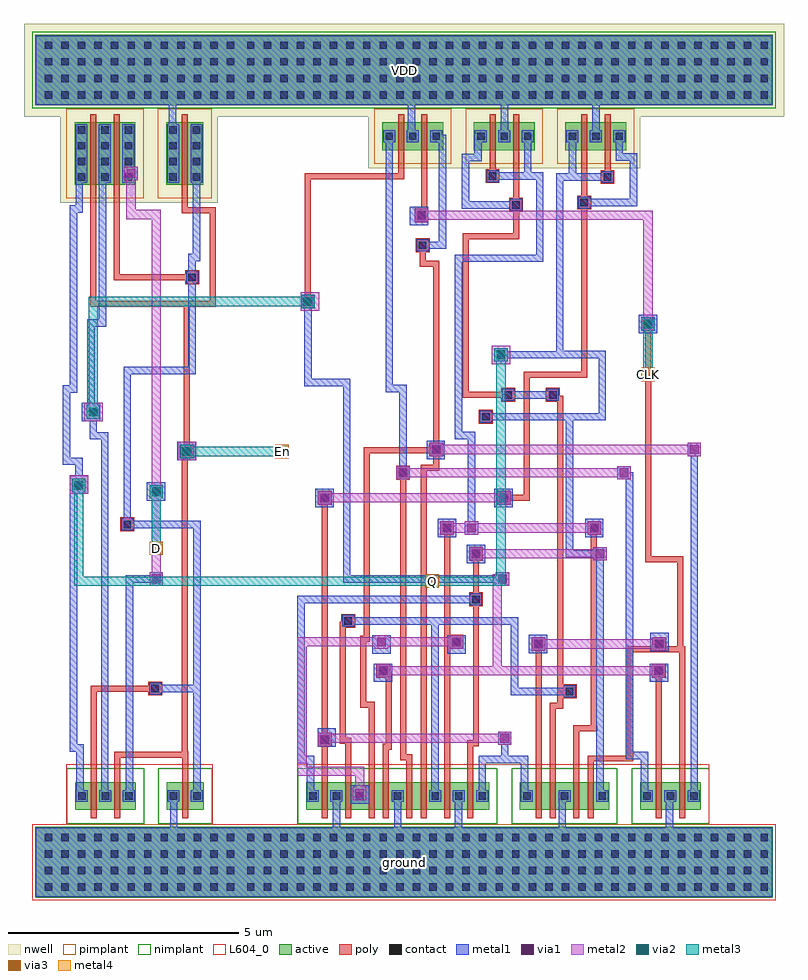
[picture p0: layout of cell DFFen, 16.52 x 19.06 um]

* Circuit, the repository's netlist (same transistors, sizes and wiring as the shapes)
* LVS netlist generated with ICnet by 'egrvlsi07' on Thu Mar 28 2019 at 16:39:21

*
* Globals.
*
.global VDD ground

*
* Component pathname : $VLSI/Project/Mux21
*
.subckt Mux21  Y A B S

        M6 Y N$46 A ground nmos l=0.13u w=0.6u m=1
        M3 Y S A VDD pmos l=0.13u w=1.35u m=1
        M5 Y S B ground nmos l=0.13u w=0.6u m=1
        M4 Y N$46 B VDD pmos l=0.13u w=1.35u m=1
        M2 N$46 S VDD VDD pmos l=0.13u w=1.35u m=1
        M1 N$46 S ground ground nmos l=0.13u w=0.6u m=1
.ends Mux21

*
* Component pathname : $VLSI/Project/DFF
*
.subckt DFF  Q CLK D

        M20 N$101 Q VDD VDD pmos l=0.13u w=0.6u m=1
        M19 Q N$101 VDD VDD pmos l=0.13u w=0.6u m=1
        M18 N$84 N$82 VDD VDD pmos l=0.13u w=0.6u m=1
        M17 N$82 N$84 VDD VDD pmos l=0.13u w=0.6u m=1
        M16 N$70 D VDD VDD pmos l=0.13u w=0.6u m=1
        M15 N$65 CLK VDD VDD pmos l=0.13u w=0.6u m=1
        M14 Q CLK N$93 ground nmos l=0.13u w=0.6u m=1
        M13 N$101 CLK N$40 ground nmos l=0.13u w=0.6u m=1
        M12 N$82 N$65 N$88 ground nmos l=0.13u w=0.6u m=1
        M11 N$84 N$65 N$67 ground nmos l=0.13u w=0.6u m=1
        M10 N$40 N$84 ground ground nmos l=0.13u w=0.6u m=1
        M9 Q N$101 ground ground nmos l=0.13u w=0.6u m=1
        M8 N$101 Q ground ground nmos l=0.13u w=0.6u m=1
        M7 N$93 N$82 ground ground nmos l=0.13u w=0.6u m=1
        M6 N$88 D ground ground nmos l=0.13u w=0.6u m=1
        M5 N$84 N$82 ground ground nmos l=0.13u w=0.6u m=1
        M4 N$82 N$84 ground ground nmos l=0.13u w=0.6u m=1
        M3 N$67 N$70 ground ground nmos l=0.13u w=0.6u m=1
        M2 N$70 D ground ground nmos l=0.13u w=0.6u m=1
        M1 N$65 CLK ground ground nmos l=0.13u w=0.6u m=1
.ends DFF

*
* Component pathname : $VLSI/Project/DFFen
*
.subckt DFFen  Q CLK D En

        X_Enable_Mux N$5 Q D En Mux21
        X_DFF Q CLK N$5 DFF
.ends DFFen

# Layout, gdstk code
import gdstk
lib = gdstk.Library(unit=1e-6, precision=1e-09)
def R(c, l, rs):  # rectangles x0, y0, x1, y1
    for r in rs: c.add(gdstk.rectangle(r[:2], r[2:], *l))
def A(c, l, x, y, w, h, nx, ny, dx, dy):  # array of equal rectangles
    R(c, l, [(x+i*dx, y+j*dy, x+i*dx+w, y+j*dy+h) for i in range(nx) for j in range(ny)])
def P(c, l, *ps):  # polygons
    for p in ps: c.add(gdstk.Polygon(p, *l))
nwell = (3, 0)
active = (6, 0)
poly = (17, 0)
pimplant = (25, 0)
nimplant = (26, 0)
contact = (30, 0)
metal1 = (31, 0)
metal2 = (32, 0)
metal3 = (33, 0)
metal4 = (34, 0)
via1 = (51, 0)
via2 = (52, 0)
via3 = (53, 0)
L604_0 = (604, 0)

m2m3 = lib.new_cell('M2M3')
R(m2m3, metal2, [(-0.145,-0.145,0.145,0.145)])
R(m2m3, metal3, [(-0.145,-0.145,0.145,0.145)])
R(m2m3, via2, [(-0.095,-0.095,0.095,0.095)])

poly_m1 = lib.new_cell('POLY_M1')
R(poly_m1, poly, [(-0.15,-0.15,0.15,0.15)])
R(poly_m1, contact, [(-0.08,-0.08,0.08,0.08)])
R(poly_m1, metal1, [(-0.13,-0.13,0.13,0.13)])

m1m2 = lib.new_cell('M1M2')
R(m1m2, metal1, [(-0.145,-0.145,0.145,0.145)])
R(m1m2, metal2, [(-0.145,-0.145,0.145,0.145)])
R(m1m2, via1, [(-0.095,-0.095,0.095,0.095)])

dff = lib.new_cell('DFF')
R(dff, nwell, [(-1.725,103.125,4.195,104.505), (-4.705,104.245,7.315,106.265)])
A(dff, active, -1.415, 103.515, 1.32, 0.6, 3, 1, 1.99, 0)
R(dff, active, [(-4.465,87.265,7.075,88.805), (-3.075,89.175,0.905,89.775), (1.575,89.175,3.515,89.775), (4.185,89.175,5.505,89.775), (-4.465,104.485,7.075,106.025)])
A(dff, poly, -2.735, 88.995, 0.13, 0.18, 3, 2, 0.51, 0.78)
A(dff, poly, -0.585, 88.995, 0.13, 0.18, 3, 2, 0.51, 0.78)
A(dff, poly, -2.735, 89.175, 0.13, 0.6, 3, 1, 0.51, 0)
A(dff, poly, -0.585, 89.175, 0.13, 0.6, 3, 1, 0.51, 0)
R(dff, poly, [(-1.405,88.995,-1.275,89.175), (-0.895,88.995,-0.765,89.175), (1.915,88.995,2.045,89.175), (2.225,88.995,2.355,89.175), (2.735,88.995,2.865,89.175), (3.045,88.995,3.175,89.175), (4.525,88.995,4.655,89.175), (5.035,88.995,5.165,89.175), (-1.405,89.175,-1.275,89.775), (-0.895,89.175,-0.765,89.775), (1.915,89.175,2.045,89.775), (2.225,89.175,2.355,89.775), (2.735,89.175,2.865,89.775), (3.045,89.175,3.175,89.775), (4.525,89.175,4.655,89.775), (5.035,89.175,5.165,89.775), (-1.405,89.775,-1.275,89.955), (-0.895,89.775,-0.765,89.955), (1.915,89.775,2.045,89.955), (2.225,89.775,2.355,89.955), (2.735,89.775,2.865,89.955), (3.045,89.775,3.175,89.955), (4.525,89.775,4.655,89.955), (5.035,89.775,5.165,89.955), (-2.735,89.825,-2.605,90.765), (-0.075,89.825,0.055,90.335), (1.915,89.825,2.045,92.845), (4.525,89.825,4.655,92.265), (-0.075,90.205,0.055,95.365), (-2.735,90.635,-2.605,96.02), (3.115,90.885,3.26,91.015), (0.555,93.685,0.685,94.805), (3.13,95.235,3.29,95.365), (1.16,95.89,1.785,96.02), (1.425,102.26,1.555,103.465), (2.905,102.31,3.035,103.465), (3.415,102.865,3.545,103.465), (0.915,102.885,1.045,103.465), (-1.075,103.335,-0.945,103.515), (-0.565,103.335,-0.435,103.515), (0.915,103.335,1.045,103.515), (1.425,103.335,1.555,103.515), (2.905,103.335,3.035,103.515), (3.415,103.335,3.545,103.515), (-1.075,103.515,-0.945,104.115), (-0.565,103.515,-0.435,104.115), (0.915,103.515,1.045,104.115), (1.425,103.515,1.555,104.115), (2.905,103.515,3.035,104.115), (3.415,103.515,3.545,104.115), (-1.075,104.115,-0.945,104.295), (-0.565,104.115,-0.435,104.295), (0.915,104.115,1.045,104.295), (1.425,104.115,1.555,104.295), (2.905,104.115,3.035,104.295), (3.415,104.115,3.545,104.295)])
P(dff, poly, [(1.655,95.89),(1.785,95.89),(1.785,98.57),(3.035,98.57),(3.035,102.44),(2.905,102.44),(2.905,98.7),(1.655,98.7)],
  [(0.33,98.13),(1.385,98.13),(1.385,98.26),(0.46,98.26),(0.46,101.575),(1.555,101.575),(1.555,102.39),(1.425,102.39),(1.425,101.705),(0.33,101.705)],
  [(4.295,94.56),(5,94.56),(5,92.6),(5.13,92.6),(5.13,94.69),(4.425,94.69),(4.425,99.8),(4.295,99.8)],
  [(3.115,90.885),(3.245,90.885),(3.245,95.235),(3.26,95.235),(3.26,95.365),(3.115,95.365)],
  [(-3.1,100.16),(-2.97,100.16),(-2.97,102.88),(-0.945,102.88),(-0.945,103.465),(-1.075,103.465),(-1.075,103.01),(-3.1,103.01)],
  [(-0.63,102.035),(-0.435,102.035),(-0.435,103.465),(-0.565,103.465),(-0.565,102.165),(-0.63,102.165)],
  [(-0.585,89.825),(-0.455,89.825),(-0.455,96.545),(-0.18,96.545),(-0.18,96.675),(-0.585,96.675)],
  [(-1.46,92.05),(-1.34,92.05),(-1.34,90.61),(-1.405,90.61),(-1.405,89.825),(-1.275,89.825),(-1.275,90.48),(-1.21,90.48),(-1.21,92.18),(-1.46,92.18)],
  [(-1.03,90.255),(-0.895,90.255),(-0.895,89.825),(-0.765,89.825),(-0.765,90.385),(-0.9,90.385),(-0.9,96.565),(-1.03,96.565)],
  [(2.735,89.825),(2.865,89.825),(2.865,90.885),(3.245,90.885),(3.245,91.015),(2.735,91.015)],
  [(-2.34,90.61),(-2.225,90.61),(-2.225,89.825),(-2.095,89.825),(-2.095,90.74),(-2.21,90.74),(-2.21,93.13),(-2.095,93.13),(-2.095,93.26),(-2.34,93.26)],
  [(0.435,89.825),(0.565,89.825),(0.565,90.56),(0.685,90.56),(0.685,93.815),(0.555,93.815),(0.555,90.69),(0.435,90.69)],
  [(3.045,89.825),(3.175,89.825),(3.175,90.225),(4.035,90.225),(4.035,92.6),(5.035,92.6),(5.035,89.825),(5.165,89.825),(5.165,92.73),(3.905,92.73),(3.905,90.355),(3.045,90.355)],
  [(2.225,89.825),(2.355,89.825),(2.355,91.37),(2.52,91.37),(2.52,98.175),(2.225,98.175),(2.225,98.045),(2.39,98.045),(2.39,91.5),(2.225,91.5)],
  [(-0.605,100.975),(-0.31,100.975),(-0.31,96.545),(-0.18,96.545),(-0.18,101.105),(-0.475,101.105),(-0.475,101.51),(-0.605,101.51)],
  [(-1.9,91.395),(-1.715,91.395),(-1.715,89.825),(-1.585,89.825),(-1.585,91.525),(-1.77,91.525),(-1.77,92.825),(-1.685,92.825),(-1.685,96.925),(-0.18,96.925),(-0.18,97.055),(-1.815,97.055),(-1.815,92.955),(-1.9,92.955)])
A(dff, pimplant, -1.595, 103.215, 1.68, 1.2, 3, 1, 1.99, 0)
R(dff, pimplant, [(-4.525,87.205,7.135,88.865)])
R(dff, nimplant, [(-3.255,88.875,1.085,90.075), (1.395,88.875,3.695,90.075), (4.005,88.875,5.685,90.075), (-4.525,104.425,7.135,106.085)])
A(dff, contact, -4.355, 87.415, 0.16, 0.16, 32, 4, 0.36, 0.36)
A(dff, contact, -3.005, 89.395, 0.16, 0.16, 3, 1, 0.51, 0)
A(dff, contact, -0.345, 89.395, 0.16, 0.16, 3, 1, 0.51, 0)
A(dff, contact, 1.645, 89.395, 0.16, 0.16, 3, 1, 0.82, 0)
A(dff, contact, 4.255, 89.395, 0.16, 0.16, 3, 1, 0.51, 0)
A(dff, contact, -1.345, 103.735, 0.16, 0.16, 3, 1, 0.51, 0)
A(dff, contact, 0.645, 103.735, 0.16, 0.16, 3, 1, 0.51, 0)
A(dff, contact, 2.635, 103.735, 0.16, 0.16, 3, 1, 0.51, 0)
A(dff, contact, -4.355, 104.635, 0.16, 0.16, 32, 4, 0.36, 0.36)
R(dff, contact, [(-1.165,89.395,-1.005,89.555)])
A(dff, metal1, -3.055, 89.345, 0.26, 0.26, 3, 1, 0.51, 0)
A(dff, metal1, -0.395, 89.345, 0.26, 0.26, 3, 1, 0.51, 0)
A(dff, metal1, 1.595, 89.345, 0.26, 0.26, 3, 1, 0.82, 0)
A(dff, metal1, 4.205, 89.345, 0.26, 0.26, 3, 1, 0.51, 0)
A(dff, metal1, -1.395, 103.685, 0.26, 0.26, 3, 1, 0.51, 0)
A(dff, metal1, 0.595, 103.685, 0.26, 0.26, 3, 1, 0.51, 0)
A(dff, metal1, 2.585, 103.685, 0.26, 0.26, 3, 1, 0.51, 0)
R(dff, metal1, [(-4.445,87.285,7.055,88.785), (-4.445,87.285,7.055,88.785), (-2.495,88.625,-2.335,89.505), (-1.16,88.625,-1,89.505), (0.16,88.625,0.32,89.505), (2.415,88.625,2.575,89.505), (4.75,88.625,4.91,89.505), (-2.105,89.305,-1.705,89.705), (-1.215,89.345,-0.955,89.605), (-1.99,89.445,-1.83,89.61), (-0.35,89.445,-0.19,93.36), (5.285,89.445,5.445,97.085), (1.165,90.185,1.325,90.81), (-2.825,90.545,-2.425,90.945), (-1.605,91.955,-1.205,92.355), (4.395,91.955,4.795,92.355), (-1.635,92.57,-1.235,92.97), (-0.005,92.57,0.395,92.97), (1.77,92.58,2.17,92.98), (4.405,92.62,4.805,93.02), (-2.24,93.2,-0.19,93.36), (0.42,94.535,0.82,94.935), (-0.21,95.1,0.19,95.5), (2.99,95.1,3.39,95.5), (-2.875,95.75,-2.475,96.15), (1.02,95.75,1.42,96.15), (-0.455,96.8,-0.055,97.2), (0.755,97.64,2.73,97.8), (1.24,98.115,2.37,98.275), (4.155,99.535,4.555,99.935), (-0.815,101.885,-0.415,102.285), (0.315,102.245,1.57,102.405), (2.635,102.85,3.56,103.01), (2.635,102.85,2.795,103.02), (2.635,102.86,2.795,103.845), (0.9,102.87,1.825,103.03), (1.665,102.87,1.825,103.845), (-0.86,103.785,-0.7,104.665), (1.16,103.785,1.32,104.665), (3.15,103.785,3.31,104.665), (-4.445,104.505,7.055,106.005), (-4.445,104.505,7.055,106.005)])
P(dff, metal1, [(1.085,98.985),(2.52,98.985),(2.52,99.155),(2.36,99.155),(2.36,99.145),(1.085,99.145)],
  [(2.36,98.995),(2.52,98.995),(2.52,102.85),(2.795,102.85),(2.795,103.01),(2.36,103.01)],
  [(2.57,94.66),(3.235,94.66),(3.235,89.445),(3.395,89.445),(3.395,94.82),(2.73,94.82),(2.73,97.8),(2.57,97.8)],
  [(3.755,96.355),(3.88,96.355),(3.88,90.275),(4.205,90.275),(4.205,89.445),(4.365,89.445),(4.365,90.435),(4.04,90.435),(4.04,96.515),(3.755,96.515)],
  [(0.315,102.245),(0.475,102.245),(0.475,103.275),(0.745,103.275),(0.745,103.685),(0.755,103.685),(0.755,103.845),(0.585,103.845),(0.585,103.435),(0.315,103.435)],
  [(-3.265,90.19),(-3.055,90.19),(-3.055,89.445),(-2.895,89.445),(-2.895,90.35),(-3.105,90.35),(-3.105,93.67),(0.7,93.67),(0.7,93.83),(-3.265,93.83)],
  [(-0.35,93.2),(1.375,93.2),(1.375,91.67),(2.735,91.67),(2.735,91.83),(1.535,91.83),(1.535,93.36),(-0.35,93.36)],
  [(0.16,97.23),(0.445,97.23),(0.445,95.22),(0.605,95.22),(0.605,97.39),(0.32,97.39),(0.32,101.085),(2.085,101.085),(2.085,103.03),(1.665,103.03),(1.665,102.87),(1.925,102.87),(1.925,101.245),(0.16,101.245)],
  [(-1.345,98.25),(-1.045,98.25),(-1.045,96.42),(-0.885,96.42),(-0.885,98.41),(-1.185,98.41),(-1.185,103.845),(-1.345,103.845)],
  [(-3.115,98.38),(-2.27,98.38),(-2.27,94.11),(1.275,94.11),(1.275,94.27),(-2.11,94.27),(-2.11,98.54),(-2.955,98.54),(-2.955,100.305),(-3.115,100.305)],
  [(2.89,102.295),(4.125,102.295),(4.125,103.445),(3.815,103.445),(3.815,103.845),(3.655,103.845),(3.655,103.285),(3.965,103.285),(3.965,102.455),(2.89,102.455)],
  [(0.675,89.445),(0.835,89.445),(0.835,90.185),(1.325,90.185),(1.325,90.345),(0.675,90.345)],
  [(-0.62,101.365),(-0.03,101.365),(-0.03,103.845),(-0.275,103.845),(-0.275,103.685),(-0.19,103.685),(-0.19,101.525),(-0.62,101.525)],
  [(1.165,90.185),(1.595,90.185),(1.595,89.445),(1.755,89.445),(1.755,90.345),(1.165,90.345)],
  [(2.36,98.995),(3.285,98.995),(3.285,97.8),(2.57,97.8),(2.57,97.64),(3.445,97.64),(3.445,99.155),(2.36,99.155)])
R(dff, metal2, [(-1.495,92.1,1.185,92.3), (0.985,92.1,4.69,92.3), (1.88,92.68,4.705,92.88), (0.52,94.64,3.415,94.84), (-0.11,95.2,0.625,95.4), (0.425,95.2,3.295,95.4), (-2.77,95.855,1.325,96.055), (-1.065,96.4,3.935,96.6), (-0.345,96.905,5.465,97.105), (0.965,98.86,1.365,99.26), (-3.19,100.02,-2.79,100.42)])
P(dff, metal2, [(-0.665,102),(4.26,102),(4.26,99.635),(4.46,99.635),(4.46,102.2),(-0.665,102.2)],
  [(-3.26,89.915),(-2.01,89.915),(-2.01,89.43),(-1.81,89.43),(-1.81,90.115),(-3.06,90.115),(-3.06,92.725),(0.295,92.725),(0.295,92.925),(-3.26,92.925)],
  [(0.985,92.1),(1.185,92.1),(1.185,94.09),(1.295,94.09),(1.295,94.29),(0.985,94.29)],
  [(-2.77,90.6),(-2.57,90.6),(-2.57,90.63),(1.345,90.63),(1.345,90.83),(-2.77,90.83)])
R(dff, metal3, [(1.065,98.965,1.265,99.165), (4.26,99.635,4.46,99.835), (-3.135,100.125,-2.935,100.325)])
R(dff, L604_0, [(-4.525,87.205,7.135,88.865), (-3.265,88.785,5.695,90.165)])
dff.add(gdstk.Reference(m2m3, (-3.035,100.225)))
dff.add(gdstk.Reference(poly_m1, (-0.54,101.445)))
dff.add(gdstk.Reference(poly_m1, (-0.965,96.5)))
dff.add(gdstk.Reference(m1m2, (-0.965,96.5)))
dff.add(gdstk.Reference(m1m2, (3.835,96.5)))
dff.add(gdstk.Reference(poly_m1, (0.98,102.95)))
dff.add(gdstk.Reference(poly_m1, (3.48,102.93)))
dff.add(gdstk.Reference(poly_m1, (2.97,102.375)))
dff.add(gdstk.Reference(poly_m1, (1.49,102.325)))
dff.add(gdstk.Reference(m1m2, (1.165,99.065)))
dff.add(gdstk.Reference(m2m3, (1.165,99.065)))
dff.add(gdstk.Reference(poly_m1, (-0.245,97.005)))
dff.add(gdstk.Reference(m1m2, (5.365,97.005)))
dff.add(gdstk.Reference(m1m2, (-0.245,97.005)))
dff.add(gdstk.Reference(poly_m1, (4.36,99.735)))
dff.add(gdstk.Reference(poly_m1, (3.195,95.3)))
dff.add(gdstk.Reference(m1m2, (3.195,95.3)))
dff.add(gdstk.Reference(m1m2, (3.315,94.74)))
dff.add(gdstk.Reference(poly_m1, (0.62,94.74)))
dff.add(gdstk.Reference(m1m2, (1.245,90.73)))
dff.add(gdstk.Reference(m1m2, (4.36,99.735)))
dff.add(gdstk.Reference(m2m3, (4.36,99.735)))
dff.add(gdstk.Reference(poly_m1, (0.835,97.72)))
dff.add(gdstk.Reference(poly_m1, (2.29,98.195)))
dff.add(gdstk.Reference(poly_m1, (1.32,98.195)))
dff.add(gdstk.Reference(m1m2, (-0.565,102.1)))
dff.add(gdstk.Reference(m1m2, (0.62,94.74)))
dff.add(gdstk.Reference(poly_m1, (-0.565,102.1)))
dff.add(gdstk.Reference(poly_m1, (-3.035,100.225)))
dff.add(gdstk.Reference(m1m2, (-3.035,100.225)))
dff.add(gdstk.Reference(poly_m1, (0.195,92.825)))
dff.add(gdstk.Reference(m1m2, (0.195,92.825)))
dff.add(gdstk.Reference(m1m2, (-1.91,89.53)))
dff.add(gdstk.Reference(m1m2, (1.195,94.19)))
dff.add(gdstk.Reference(m1m2, (0.525,95.3)))
dff.add(gdstk.Reference(poly_m1, (1.225,95.955)))
dff.add(gdstk.Reference(m1m2, (1.225,95.955)))
dff.add(gdstk.Reference(poly_m1, (-2.67,95.955)))
dff.add(gdstk.Reference(m1m2, (-2.67,95.955)))
dff.add(gdstk.Reference(poly_m1, (4.59,92.2)))
dff.add(gdstk.Reference(m1m2, (4.59,92.2)))
dff.add(gdstk.Reference(poly_m1, (-1.395,92.2)))
dff.add(gdstk.Reference(m1m2, (-1.395,92.2)))
dff.add(gdstk.Reference(m1m2, (-0.01,95.3)))
dff.add(gdstk.Reference(poly_m1, (-0.01,95.3)))
dff.add(gdstk.Reference(poly_m1, (-2.67,90.7)))
dff.add(gdstk.Reference(m1m2, (-2.67,90.7)))
dff.add(gdstk.Reference(poly_m1, (1.98,92.78)))
dff.add(gdstk.Reference(m1m2, (1.98,92.78)))
dff.add(gdstk.Reference(poly_m1, (4.605,92.78)))
dff.add(gdstk.Reference(m1m2, (4.605,92.78)))
dff.add(gdstk.Reference(poly_m1, (2.655,91.75)))
dff.add(gdstk.Reference(poly_m1, (0.62,93.75)))
dff.add(gdstk.Reference(poly_m1, (-2.16,93.28)))
dff.add(gdstk.Reference(m1m2, (-1.435,92.825)))
dff.add(gdstk.Label('/M16', (-1.01,103.815), layer=17, texttype=0))
dff.add(gdstk.Label('/M15', (-0.5,103.815), layer=17, texttype=0))
dff.add(gdstk.Label('/M18', (0.98,103.815), layer=17, texttype=0))
dff.add(gdstk.Label('/M17', (1.49,103.815), layer=17, texttype=0))
dff.add(gdstk.Label('/M19', (2.97,103.815), layer=17, texttype=0))
dff.add(gdstk.Label('/M20', (3.48,103.815), layer=17, texttype=0))
dff.add(gdstk.Label('/M9', (-2.67,89.475), layer=17, texttype=0))
dff.add(gdstk.Label('/M4', (-2.16,89.475), layer=17, texttype=0))
dff.add(gdstk.Label('/M12', (-1.65,89.475), layer=17, texttype=0))
dff.add(gdstk.Label('/M6', (-1.34,89.475), layer=17, texttype=0))
dff.add(gdstk.Label('/M3', (-0.83,89.475), layer=17, texttype=0))
dff.add(gdstk.Label('/M11', (-0.52,89.475), layer=17, texttype=0))
dff.add(gdstk.Label('/M5', (-0.01,89.475), layer=17, texttype=0))
dff.add(gdstk.Label('/M8', (0.5,89.475), layer=17, texttype=0))
dff.add(gdstk.Label('/M13', (1.98,89.475), layer=17, texttype=0))
dff.add(gdstk.Label('/M10', (2.29,89.475), layer=17, texttype=0))
dff.add(gdstk.Label('/M7', (2.8,89.475), layer=17, texttype=0))
dff.add(gdstk.Label('/M14', (3.11,89.475), layer=17, texttype=0))
dff.add(gdstk.Label('/M2', (4.59,89.475), layer=17, texttype=0))
dff.add(gdstk.Label('/M1', (5.1,89.475), layer=17, texttype=0))
dff.add(gdstk.Label('CLK', (4.36,99.735), layer=133, texttype=0))
dff.add(gdstk.Label('Q', (1.165,99.065), layer=133, texttype=0))
dff.add(gdstk.Label('D', (-3.035,100.225), layer=133, texttype=0))
dff.add(gdstk.Label('VDD', (1.305,105.255), layer=131, texttype=0))
dff.add(gdstk.Label('ground', (1.305,88.035), layer=131, texttype=0))

mux21 = lib.new_cell('Mux21')
R(mux21, nwell, [(-1.815,108.335,1.605,110.465), (-2.605,110.205,2.415,112.225)])
R(mux21, active, [(-2.365,93.225,2.175,94.765), (-1.495,95.135,-0.175,95.735), (0.495,95.135,1.305,95.735), (-1.505,108.725,-0.185,110.075), (0.485,108.725,1.295,110.075), (-2.365,110.445,2.175,111.985)])
R(mux21, poly, [(-1.155,94.955,-1.025,95.135), (-0.645,94.955,-0.515,95.135), (0.835,94.955,0.965,95.135), (-1.155,95.135,-1.025,95.735), (-0.645,95.135,-0.515,95.735), (0.835,95.135,0.965,95.735), (-1.155,95.735,-1.025,95.915), (-0.645,95.735,-0.515,95.915), (0.835,95.735,0.965,95.915), (0.835,95.785,0.965,96.4), (0.825,96.27,0.965,96.4), (0.825,96.27,0.955,102.99), (0.87,102.86,1,106.2), (0.87,106.07,1.56,106.2), (-1.165,108.545,-1.035,108.725), (-0.655,108.545,-0.525,108.725), (0.825,108.545,0.955,108.725), (-1.165,108.725,-1.035,110.075), (-0.655,108.725,-0.525,110.075), (0.825,108.725,0.955,110.075), (-1.165,110.075,-1.035,110.255), (-0.655,110.075,-0.525,110.255), (0.825,110.075,0.955,110.255)])
P(mux21, poly, [(-1.155,95.785),(-1.025,95.785),(-1.025,97.705),(0.31,97.705),(0.31,97.835),(-1.155,97.835)],
  [(-0.655,106.645),(1.115,106.645),(1.115,106.775),(-0.525,106.775),(-0.525,108.675),(-0.655,108.675)],
  [(0.825,108.1),(1.43,108.1),(1.43,106.07),(1.56,106.07),(1.56,108.23),(0.955,108.23),(0.955,108.675),(0.825,108.675)],
  [(-0.645,95.785),(-0.515,95.785),(-0.515,96.27),(0.955,96.27),(0.955,96.4),(-0.645,96.4)],
  [(-1.165,106.07),(1,106.07),(1,106.2),(-1.035,106.2),(-1.035,108.675),(-1.165,108.675)])
R(mux21, pimplant, [(-2.425,93.165,2.235,94.825), (-1.685,108.425,-0.005,110.375), (0.305,108.425,1.475,110.375)])
R(mux21, nimplant, [(-1.675,94.835,0.005,96.035), (0.315,94.835,1.485,96.035), (-2.425,110.385,2.235,112.045)])
A(mux21, contact, -2.155, 93.375, 0.16, 0.16, 12, 4, 0.36, 0.36)
A(mux21, contact, -1.425, 95.355, 0.16, 0.16, 3, 1, 0.51, 0)
A(mux21, contact, -1.435, 108.81, 0.16, 0.16, 3, 4, 0.51, 0.34)
A(mux21, contact, 0.555, 108.81, 0.16, 0.16, 1, 4, 0, 0.34)
A(mux21, contact, 1.065, 108.81, 0.16, 0.16, 1, 4, 0, 0.34)
A(mux21, contact, -2.155, 110.595, 0.16, 0.16, 12, 4, 0.36, 0.36)
R(mux21, contact, [(0.565,95.355,0.725,95.515), (1.075,95.355,1.235,95.515)])
A(mux21, metal1, -1.475, 95.305, 0.26, 0.26, 3, 1, 0.51, 0)
A(mux21, metal1, -1.485, 108.76, 0.26, 1.28, 3, 1, 0.51, 0)
R(mux21, metal1, [(-2.345,93.245,2.155,94.745), (-2.345,93.245,2.155,94.745), (0.57,94.585,0.73,95.465), (0.515,95.305,0.775,95.565), (1.025,95.305,1.285,95.565), (1.075,95.405,1.235,97.85), (0.165,97.69,1.235,97.85), (0.065,101.85,0.465,102.25), (-1.61,102,-1.21,102.4), (0.725,102.73,1.125,103.13), (-1.35,103.585,-0.95,103.985), (0.505,108.76,0.765,110.04), (1.015,108.76,1.275,110.04), (-0.365,108.885,-0.2,109.045), (0.54,109.88,0.7,110.625), (-2.345,110.465,2.155,111.965), (-2.345,110.465,2.155,111.965)])
P(mux21, metal1, [(0.97,106.63),(1.13,106.63),(1.13,107.06),(1.225,107.06),(1.225,108.92),(1.065,108.92),(1.065,107.22),(0.97,107.22)],
  [(-0.44,101.26),(-0.28,101.26),(-0.28,104.605),(1.13,104.605),(1.13,106.79),(0.97,106.79),(0.97,104.765),(-0.44,104.765)],
  [(-1.18,103.185),(-0.93,103.185),(-0.93,95.405),(-0.77,95.405),(-0.77,103.345),(-1.02,103.345),(-1.02,103.86),(-1.18,103.86)],
  [(-1.23,103.825),(-1.07,103.825),(-1.07,105.635),(-0.815,105.635),(-0.815,108.92),(-0.975,108.92),(-0.975,105.795),(-1.23,105.795)],
  [(-0.44,101.26),(1.075,101.26),(1.075,97.69),(1.235,97.69),(1.235,101.42),(-0.44,101.42)],
  [(-1.61,96.4),(-1.465,96.4),(-1.465,95.405),(-1.305,95.405),(-1.305,96.56),(-1.45,96.56),(-1.45,102.16),(-1.61,102.16)],
  [(-1.765,102.63),(-1.49,102.63),(-1.49,102.24),(-1.33,102.24),(-1.33,102.79),(-1.605,102.79),(-1.605,104.2),(-1.45,104.2),(-1.45,108.115),(-1.325,108.115),(-1.325,108.92),(-1.485,108.92),(-1.485,108.275),(-1.61,108.275),(-1.61,104.36),(-1.765,104.36)],
  [(-0.395,95.405),(-0.235,95.405),(-0.235,100.075),(0.35,100.075),(0.35,100.235),(-0.395,100.235)])
R(mux21, metal2, [(-1.61,102.005,-1.21,102.405), (0.735,102.73,1.135,103.13), (-1.29,103.58,-0.89,103.98)])
P(mux21, metal2, [(-0.38,107.975),(0.17,107.975),(0.17,100.055),(0.37,100.055),(0.37,108.175),(-0.18,108.175),(-0.18,109.065),(-0.38,109.065)])
R(mux21, metal3, [(0.17,101.965,0.37,102.165), (-1.515,102.095,-1.315,102.295), (0.835,102.825,1.035,103.025), (-1.2,103.68,-1,103.88)])
R(mux21, L604_0, [(-2.425,93.165,2.235,94.825), (-1.685,94.745,1.495,96.125), (0.73,102.735,1.13,103.135)])
mux21.add(gdstk.Reference(m2m3, (0.935,102.925)))
mux21.add(gdstk.Reference(m1m2, (-1.415,102.19)))
mux21.add(gdstk.Reference(m1m2, (-1.1,103.78)))
mux21.add(gdstk.Reference(m2m3, (-1.1,103.78)))
mux21.add(gdstk.Reference(poly_m1, (-0.36,101.34)))
mux21.add(gdstk.Reference(m1m2, (0.27,100.155)))
mux21.add(gdstk.Reference(m2m3, (0.27,102.05)))
mux21.add(gdstk.Reference(poly_m1, (0.245,97.77)))
mux21.add(gdstk.Reference(poly_m1, (0.935,102.925)))
mux21.add(gdstk.Reference(m1m2, (0.935,102.925)))
mux21.add(gdstk.Reference(m1m2, (0.27,102.05)))
mux21.add(gdstk.Reference(m2m3, (0.27,102.05)))
mux21.add(gdstk.Reference(m1m2, (-0.28,108.965)))
mux21.add(gdstk.Reference(poly_m1, (1.05,106.71)))
mux21.add(gdstk.Reference(m2m3, (-1.415,102.19)))
mux21.add(gdstk.Label('/M6', (-1.09,95.435), layer=17, texttype=0))
mux21.add(gdstk.Label('/M5', (-0.58,95.435), layer=17, texttype=0))
mux21.add(gdstk.Label('/M1', (0.9,95.435), layer=17, texttype=0))
mux21.add(gdstk.Label('/M3', (-1.1,109.4), layer=17, texttype=0))
mux21.add(gdstk.Label('/M4', (-0.59,109.4), layer=17, texttype=0))
mux21.add(gdstk.Label('/M2', (0.89,109.4), layer=17, texttype=0))
mux21.add(gdstk.Label('Y', (-1.1,103.78), layer=133, texttype=0))
mux21.add(gdstk.Label('A', (-1.415,102.195), layer=133, texttype=0))
mux21.add(gdstk.Label('B', (0.27,102.065), layer=133, texttype=0))
mux21.add(gdstk.Label('S', (0.935,102.925), layer=133, texttype=0))
mux21.add(gdstk.Label('VDD', (-0.095,111.215), layer=131, texttype=0))
mux21.add(gdstk.Label('ground', (-0.095,93.995), layer=131, texttype=0))

m3m4 = lib.new_cell('M3M4')
R(m3m4, metal3, [(-0.145,-0.145,0.145,0.145)])
R(m3m4, metal4, [(-0.145,-0.145,0.145,0.145)])
R(m3m4, via3, [(-0.095,-0.095,0.095,0.095)])

dffen = lib.new_cell('DFFen')
R(dffen, metal1, [(-1.465,51.815,14.535,53.315), (-1.465,69.035,14.535,70.535)])
R(dffen, metal3, [(1.05,59.29,1.25,60.735), (1.715,61.395,3.985,61.595), (11.74,63.065,11.94,64.365)])
P(dffen, metal3, [(-0.32,62.25),(-0.12,62.25),(-0.12,64.655),(4.545,64.655),(4.545,64.855),(-0.32,64.855)],
  [(-0.635,58.575),(8.745,58.575),(8.745,63.695),(8.545,63.695),(8.545,58.775),(-0.435,58.775),(-0.435,60.865),(-0.635,60.865)])
R(dffen, metal4, [(7.045,58.575,7.245,58.775), (1.05,59.29,1.25,59.49), (3.785,61.395,3.985,61.595), (11.74,63.065,11.94,63.265)])
dffen.add(gdstk.Reference(dff, (7.48,-35.47)))
dffen.add(gdstk.Reference(mux21, (0.88,-41.43)))
dffen.add(gdstk.Reference(m3m4, (3.885,61.495)))
dffen.add(gdstk.Reference(m3m4, (1.15,59.39)))
dffen.add(gdstk.Reference(m3m4, (7.145,58.675)))
dffen.add(gdstk.Reference(m3m4, (11.84,63.165)))
dffen.add(gdstk.Label('Q', (7.145,58.675), layer=134, texttype=0))
dffen.add(gdstk.Label('D', (1.15,59.39), layer=134, texttype=0))
dffen.add(gdstk.Label('CLK', (11.84,63.165), layer=134, texttype=0))
dffen.add(gdstk.Label('En', (3.885,61.495), layer=134, texttype=0))
dffen.add(gdstk.Label('ground', (6.535,52.565), layer=131, texttype=0))
dffen.add(gdstk.Label('VDD', (6.535,69.785), layer=131, texttype=0))

lib.write_gds('DFFen.gds')
